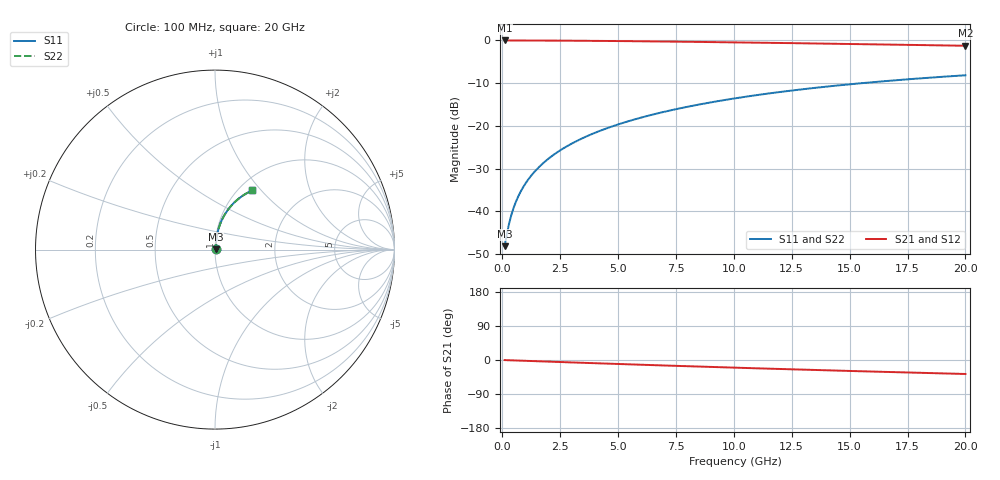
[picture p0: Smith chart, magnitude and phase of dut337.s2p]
! Touchstone file exported from HFSS 2024.1.0
!  File:  C:/UserFiles/LocalFiles/RDL_TSV_Batchsim/temp_RDL_top_337_1779607627.aedt
!  Generated:  03:29:39 PM May 24, 2026
!  Design:  RDL_top
!  Project:  temp_RDL_top_337_1779607627
!  Setup:  Setup1
!  Solution:  Sweep
! Variables:
!  dtsv = 10.80580581um
!  hbump = 3um
!  htsv = 98.28um
!  ldown = 100um
!  lrdl = 472.81um
!  p = 40
!  p1 = 51.3um
!  rhole = 1um
!  t = 450um
!  tdown = 3.915915916um
!  trdl = 3.12um
!  wdown = 15.38538539um
!  wrdl = 17.43um
# GHz S MA R 50.000000
! Terminal data exported
! Port[1] = Box2_T1
! Port[2] = Box2_T2
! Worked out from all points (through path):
!   200 points, 100 MHz to 20 GHz, reference 50 ohm
!   highest |S21| = -0.03 dB at 100 MHz (marker M1); lowest = -1.3 dB at 20 GHz (marker M2)
!   group delay of S21, straight-line fit = 5.11 ps
!   lowest |S11| = -48.1 dB at 100 MHz (marker M3), VSWR 1.01, Z = 50.3 + j0.22 ohm
!   |S11| at or under -10 dB: start of sweep to 15.55 GHz
!   |S22| runs from -48.1 to -8.2 dB; largest |S21 - S12| = 2.6e-15
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0.1  0.003924 33.9  0.9967 -0.2  0.9967 -0.2  0.003924 33.9
! Gamma 0 0 0 0
! Port Impedance 50 0 50 0
0.2  0.005488 52.5  0.9966 -0.4  0.9966 -0.4  0.005488 52.5
0.3  0.007339 61.8  0.9965 -0.7  0.9965 -0.7  0.007338 61.8
0.4  0.009274 67.2  0.9964 -0.9  0.9964 -0.9  0.009274 67.2
0.5  0.01124 70.7  0.9962 -1.1  0.9962 -1.1  0.01124 70.7
0.6  0.01321 73.1  0.9961 -1.3  0.9961 -1.3  0.01321 73.1
0.8  0.01718 76.3  0.9958 -1.7  0.9958 -1.7  0.01718 76.3
1.1  0.02319 79.1  0.9953 -2.4  0.9953 -2.4  0.02319 79.1
1.3  0.02723 80.2  0.995 -2.8  0.995 -2.8  0.02723 80.2
1.6  0.03332 81.3  0.9944 -3.4  0.9944 -3.4  0.03332 81.3
2.1  0.04354 82.2  0.9931 -4.5  0.9931 -4.5  0.04354 82.2
2.7  0.0559 82.5  0.9913 -5.8  0.9913 -5.8  0.0559 82.5
3.5  0.07251 82.4  0.9883 -7.5  0.9883 -7.5  0.07251 82.4
4.2  0.08714 81.9  0.9851 -8.9  0.9851 -8.9  0.08715 81.9
5  0.104 81.2  0.981 -10.5  0.981 -10.5  0.104 81.2
5.9  0.123 80.1  0.9758 -12.3  0.9758 -12.3  0.123 80.1
6.8  0.142 78.9  0.9701 -14.1  0.9701 -14.1  0.142 78.9
8.4  0.1757 76.5  0.9591 -17.2  0.9591 -17.2  0.1757 76.5
10.1  0.2109 73.8  0.9464 -20.3  0.9464 -20.3  0.2109 73.8
13.4  0.2763 68.3  0.9201 -26.2  0.9201 -26.2  0.2763 68.3
16.7  0.3364 62.9  0.8924 -31.7  0.8924 -31.7  0.3364 62.9
20  0.3905 57.7  0.8641 -36.9  0.8641 -36.9  0.3904 57.7
